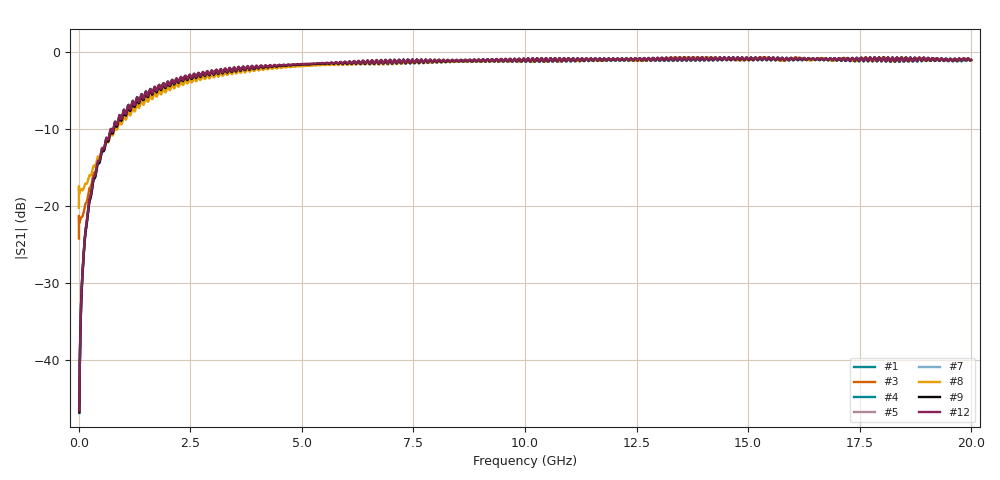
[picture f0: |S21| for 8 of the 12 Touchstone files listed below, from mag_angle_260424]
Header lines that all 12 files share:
!  2-Port S-parameters saved by WinCal
! VAR MeasName=S-Parameters (CALIBRATED_DATA) read from VNA (P5004A)
! VAR PHYS_PORTS=1,2
! VAR ObjTypeName=DATASET
! VAR IndexType=Frequency
# Hz S MA R 50
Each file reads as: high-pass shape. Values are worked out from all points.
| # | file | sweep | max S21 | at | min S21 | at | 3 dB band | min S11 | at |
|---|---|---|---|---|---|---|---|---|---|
| 1 | Wafer2_r1_c2_pristine 2_1.S2P | 10.01 MHz to 20 GHz | -0.69 dB | 18.14 GHz | -46.6 dB | 10.01 MHz | 2.341 GHz-20 GHz | -10.4 dB | 15.61 GHz |
| 2 | Wafer2_r1_c2_pristine_1.S2P | 10.01 MHz to 20 GHz | -0.69 dB | 18.14 GHz | -46.6 dB | 10.01 MHz | 2.341 GHz-20 GHz | -10.4 dB | 15.61 GHz |
| 3 | Wafer2_r1_c3_fullform_log_1.S2P | 9 kHz to 20 GHz | -0.64 dB | 18.05 GHz | -24.2 dB | 9 kHz | 2.545 GHz-20 GHz | -11.0 dB | 18.19 GHz |
| 4 | Wafer2_r1_c3_pristine_1.S2P | 10.01 MHz to 20 GHz | -0.69 dB | 18.14 GHz | -46.5 dB | 10.01 MHz | 2.251 GHz-20 GHz | -10.6 dB | 15.62 GHz |
| 5 | Wafer2_r1_c4_pristine_1.S2P | 10.01 MHz to 20 GHz | -0.68 dB | 18.04 GHz | -46.7 dB | 10.01 MHz | 2.351 GHz-20 GHz | -10.4 dB | 15.61 GHz |
| 6 | Wafer2_r1_c5_pristine_1.S2P | 10.01 MHz to 20 GHz | -0.67 dB | 18.04 GHz | -46.6 dB | 10.01 MHz | 2.441 GHz-20 GHz | -10.4 dB | 19.29 GHz |
| 7 | Wafer2_r1_c6_pristine_1.S2P | 10.01 MHz to 20 GHz | -0.67 dB | 17.94 GHz | -46.8 dB | 10.01 MHz | 2.351 GHz-20 GHz | -10.5 dB | 15.71 GHz |
| 8 | Wafer2_r1_c7_fullform_log 2_1.S2P | 9 kHz to 20 GHz | -0.66 dB | 18.05 GHz | -20.2 dB | 9 kHz | 2.659 GHz-20 GHz | -10.9 dB | 17.79 GHz |
| 9 | Wafer2_r1_c7_pristine 2_1.S2P | 10.01 MHz to 20 GHz | -0.66 dB | 17.94 GHz | -46.8 dB | 10.01 MHz | 2.351 GHz-20 GHz | -10.6 dB | 15.61 GHz |
| 10 | Wafer2_r1_c7_pristine_1.S2P | 10.01 MHz to 20 GHz | -0.66 dB | 17.94 GHz | -46.8 dB | 10.01 MHz | 2.351 GHz-20 GHz | -10.6 dB | 15.61 GHz |
| 11 | Wafer2_r1_c8_pristine_1.S2P | 10.01 MHz to 20 GHz | -0.68 dB | 17.94 GHz | -46.7 dB | 10.01 MHz | 2.351 GHz-20 GHz | -10.6 dB | 15.61 GHz |
| 12 | Wafer2_r1_c9_pristine_1.S2P | 10.01 MHz to 20 GHz | -0.64 dB | 14.67 GHz | -46.5 dB | 10.01 MHz | 2.251 GHz-20 GHz | -10.8 dB | 15.61 GHz |
